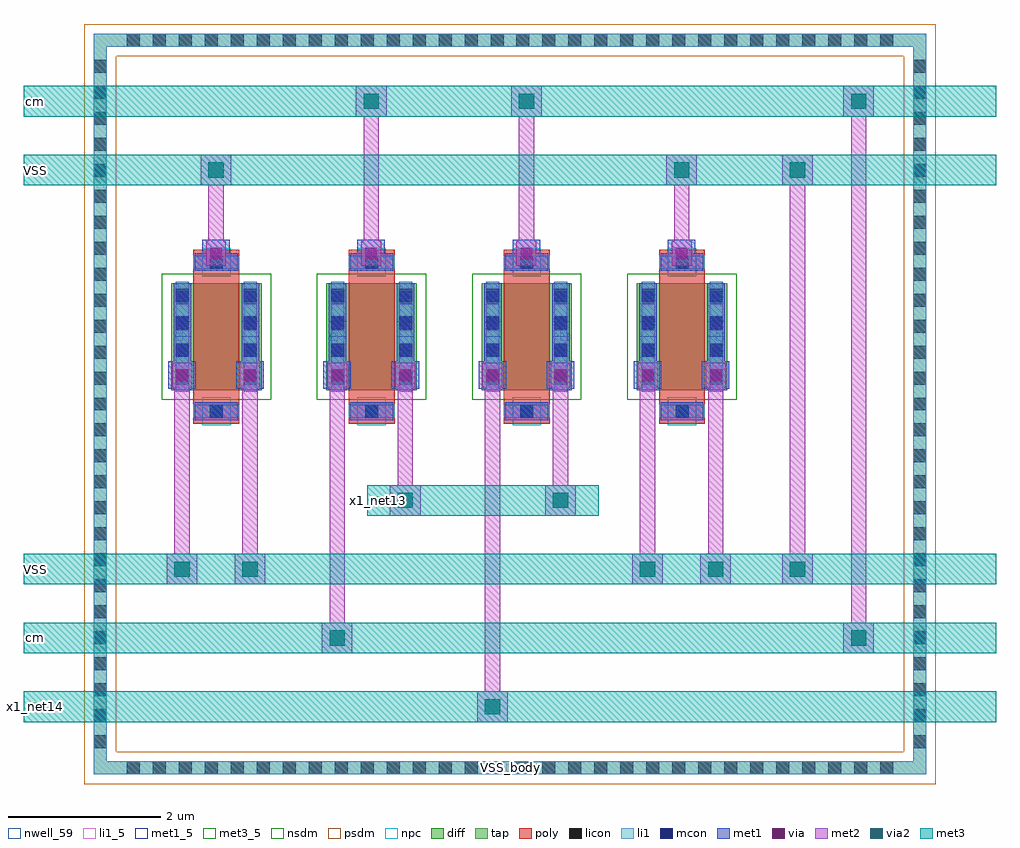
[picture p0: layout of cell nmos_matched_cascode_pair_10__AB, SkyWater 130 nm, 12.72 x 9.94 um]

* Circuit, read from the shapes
.subckt nmos_matched_cascode_pair_10__AB VSS VSS_body cm x1_net13 x1_net14
XM1 VSS VSS VSS VSS_body sky130_fd_pr__nfet_01v8 w=1.4 l=0.6 m=2
XM2 x1_net13 cm cm VSS_body sky130_fd_pr__nfet_01v8 w=1.4 l=0.6
XM3 x1_net13 cm x1_net14 VSS_body sky130_fd_pr__nfet_01v8 w=1.4 l=0.6
.ends

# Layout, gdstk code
from math import pi, radians
import gdstk
lib = gdstk.Library(unit=1e-6, precision=1e-09)
def R(c, l, rs):  # rectangles x0, y0, x1, y1
    for r in rs: c.add(gdstk.rectangle(r[:2], r[2:], *l))
def A(c, l, x, y, w, h, nx, ny, dx, dy):  # array of equal rectangles
    R(c, l, [(x+i*dx, y+j*dy, x+i*dx+w, y+j*dy+h) for i in range(nx) for j in range(ny)])
nwell_59 = (64, 59)
diff = (65, 20)
tap = (65, 44)
poly = (66, 20)
licon = (66, 44)
li1_5 = (67, 5)
li1 = (67, 20)
mcon = (67, 44)
met1_5 = (68, 5)
met1 = (68, 20)
via = (68, 44)
met2 = (69, 20)
via2 = (69, 44)
met3_5 = (70, 5)
met3 = (70, 20)
nsdm = (93, 44)
psdm = (94, 20)
npc = (95, 20)

sky130_fd_pr__nfet_01v8_ = lib.new_cell('sky130_fd_pr__nfet_01v8_KCM6UP')
R(sky130_fd_pr__nfet_01v8_, diff, [(-0.59,-0.7,0.59,0.7)])
R(sky130_fd_pr__nfet_01v8_, poly, [(-0.3,-1.14,0.3,1.14)])
A(sky130_fd_pr__nfet_01v8_, licon, -0.53, -0.595, 0.17, 0.17, 1, 4, 0, 0.34)
A(sky130_fd_pr__nfet_01v8_, licon, 0.36, -0.595, 0.17, 0.17, 1, 4, 0, 0.34)
R(sky130_fd_pr__nfet_01v8_, licon, [(-0.085,-1.06,0.085,-0.89), (-0.085,0.89,0.085,1.06)])
R(sky130_fd_pr__nfet_01v8_, li1, [(-0.3,-1.06,0.3,-0.89), (-0.53,-0.72,-0.36,0.72), (0.36,-0.72,0.53,0.72), (-0.3,0.89,0.3,1.06)])
A(sky130_fd_pr__nfet_01v8_, mcon, -0.53, -0.625, 0.17, 0.17, 1, 4, 0, 0.36)
A(sky130_fd_pr__nfet_01v8_, mcon, 0.36, -0.625, 0.17, 0.17, 1, 4, 0, 0.36)
R(sky130_fd_pr__nfet_01v8_, mcon, [(-0.085,-1.06,0.085,-0.89), (-0.085,0.89,0.085,1.06)])
R(sky130_fd_pr__nfet_01v8_, met1, [(-0.28,-1.09,0.28,-0.86), (-0.56,-0.7,-0.33,0.7), (0.33,-0.7,0.56,0.7), (-0.28,0.86,0.28,1.09)])
R(sky130_fd_pr__nfet_01v8_, nsdm, [(-0.715,-0.825,0.715,0.825)])
R(sky130_fd_pr__nfet_01v8_, npc, [(-0.185,-1.16,0.185,-0.79), (-0.185,0.79,0.185,1.16)])
sky130_fd_pr__nfet_01v8_.add(gdstk.Label('D', (-0.445,0), layer=67, texttype=5))
sky130_fd_pr__nfet_01v8_.add(gdstk.Label('S', (0.445,0), layer=67, texttype=5))
sky130_fd_pr__nfet_01v8_.add(gdstk.Label('G', (0,0.975), layer=67, texttype=5))

nfet_01v8_w1p4_l0p6_m1__ = lib.new_cell('nfet_01v8_W1p4_L0p6_m1__nf1_gboth_sdfull_ng')
R(nfet_01v8_w1p4_l0p6_m1__, nwell_59, [(0.05,1.09,0.15,1.19)])
R(nfet_01v8_w1p4_l0p6_m1__, met1_5, [(0.03,1.14,0.26,1.34), (0.92,1.14,1.15,1.34), (0.31,2,0.87,2.23)])
R(nfet_01v8_w1p4_l0p6_m1__, met1, [(0.03,1.14,0.26,1.34), (0.92,1.14,1.15,1.34), (0.31,2,0.87,2.23)])
nfet_01v8_w1p4_l0p6_m1__.add(gdstk.Reference(sky130_fd_pr__nfet_01v8_, (0.59,1.14)))
nfet_01v8_w1p4_l0p6_m1__.add(gdstk.Label('D', (0.145,1.24), layer=68, texttype=5))
nfet_01v8_w1p4_l0p6_m1__.add(gdstk.Label('S', (1.035,1.24), layer=68, texttype=5))
nfet_01v8_w1p4_l0p6_m1__.add(gdstk.Label('G', (0.59,2.115), layer=68, texttype=5))
nfet_01v8_w1p4_l0p6_m1__.add(gdstk.Label('B', (0.1,1.14), layer=64, texttype=59))

nmos_matched_cascode_pai = lib.new_cell('nmos_matched_cascode_pair_10__AB')
R(nmos_matched_cascode_pai, tap, [(-0.885,-4.585,10.005,-4.415), (-0.885,-4.415,-0.715,4.935), (9.835,-4.415,10.005,4.935), (-0.885,4.935,10.005,5.105)])
A(nmos_matched_cascode_pai, licon, -0.455, -4.585, 0.17, 0.17, 30, 2, 0.34, 9.52)
A(nmos_matched_cascode_pai, licon, -0.885, -4.245, 0.17, 0.17, 1, 27, 0, 0.34)
A(nmos_matched_cascode_pai, licon, 9.835, -4.245, 0.17, 0.17, 1, 27, 0, 0.34)
R(nmos_matched_cascode_pai, li1_5, [(4.51,-4.55,4.61,-4.45)])
R(nmos_matched_cascode_pai, li1, [(-0.885,-4.585,10.005,-4.415), (-0.885,-4.415,-0.715,4.935), (9.835,-4.415,10.005,4.935), (-0.885,4.935,10.005,5.105)])
A(nmos_matched_cascode_pai, met1, 0.535, 2.05, 0.36, 0.36, 4, 1, 2.03, 0)
R(nmos_matched_cascode_pai, met1, [(0.09,0.46,0.45,0.82), (0.98,0.46,1.34,0.82), (2.12,0.46,2.48,0.82), (3.01,0.46,3.37,0.82), (4.15,0.46,4.51,0.82), (5.04,0.46,5.4,0.82), (6.18,0.46,6.54,0.82), (7.07,0.46,7.43,0.82)])
A(nmos_matched_cascode_pai, via, 0.64, 2.155, 0.15, 0.15, 4, 1, 2.03, 0)
R(nmos_matched_cascode_pai, via, [(0.195,0.565,0.345,0.715), (1.085,0.565,1.235,0.715), (2.225,0.565,2.375,0.715), (3.115,0.565,3.265,0.715), (4.255,0.565,4.405,0.715), (5.145,0.565,5.295,0.715), (6.285,0.565,6.435,0.715), (7.175,0.565,7.325,0.715)])
A(nmos_matched_cascode_pai, met2, 0.585, 2.07, 0.26, 0.32, 4, 1, 2.03, 0)
R(nmos_matched_cascode_pai, met2, [(4.13,-3.9,4.53,-3.5), (4.23,-3.5,4.43,0.48), (2.1,-3,2.5,-2.6), (8.92,-3,9.32,-2.6), (2.2,-2.6,2.4,0.48), (9.02,-2.6,9.22,4.02), (0.07,-2.1,0.47,-1.7), (0.96,-2.1,1.36,-1.7), (6.16,-2.1,6.56,-1.7), (7.05,-2.1,7.45,-1.7), (8.12,-2.1,8.52,-1.7), (0.17,-1.7,0.37,0.48), (1.06,-1.7,1.26,0.48), (6.26,-1.7,6.46,0.48), (7.15,-1.7,7.35,0.48), (8.22,-1.7,8.42,3.12), (2.99,-1.2,3.39,-0.8), (5.02,-1.2,5.42,-0.8), (3.09,-0.8,3.29,0.48), (5.12,-0.8,5.32,0.48), (0.14,0.48,0.4,0.8), (1.03,0.48,1.29,0.8), (2.17,0.48,2.43,0.8), (3.06,0.48,3.32,0.8), (4.2,0.48,4.46,0.8), (5.09,0.48,5.35,0.8), (6.23,0.48,6.49,0.8), (7.12,0.48,7.38,0.8), (0.615,2.39,0.815,3.12), (2.645,2.39,2.845,4.02), (4.675,2.39,4.875,4.02), (6.705,2.39,6.905,3.12), (0.515,3.12,0.915,3.52), (6.605,3.12,7.005,3.52), (8.12,3.12,8.52,3.52), (2.545,4.02,2.945,4.42), (4.575,4.02,4.975,4.42), (8.92,4.02,9.32,4.42)])
R(nmos_matched_cascode_pai, via2, [(4.23,-3.8,4.43,-3.6), (2.2,-2.9,2.4,-2.7), (9.02,-2.9,9.22,-2.7), (0.17,-2,0.37,-1.8), (1.06,-2,1.26,-1.8), (6.26,-2,6.46,-1.8), (7.15,-2,7.35,-1.8), (8.22,-2,8.42,-1.8), (3.09,-1.1,3.29,-0.9), (5.12,-1.1,5.32,-0.9), (0.615,3.22,0.815,3.42), (6.705,3.22,6.905,3.42), (8.22,3.22,8.42,3.42), (2.645,4.12,2.845,4.32), (4.675,4.12,4.875,4.32), (9.02,4.12,9.22,4.32)])
A(nmos_matched_cascode_pai, met3_5, -1.7, -3.75, 0.1, 0.1, 1, 3, 0, 0.9)
R(nmos_matched_cascode_pai, met3_5, [(2.79,-1.05,2.89,-0.95), (-1.7,3.27,-1.6,3.37), (-1.7,4.17,-1.6,4.27)])
A(nmos_matched_cascode_pai, met3, -1.8, -3.9, 12.72, 0.4, 1, 3, 0, 0.9)
R(nmos_matched_cascode_pai, met3, [(2.69,-1.2,5.72,-0.8), (-1.8,3.12,10.92,3.52), (-1.8,4.02,10.92,4.42)])
R(nmos_matched_cascode_pai, psdm, [(-1.01,-4.71,10.13,-4.29), (-1.01,-4.29,-0.59,4.81), (9.71,-4.29,10.13,4.81), (-1.01,4.81,10.13,5.23)])
nmos_matched_cascode_pai.add(gdstk.Reference(nfet_01v8_w1p4_l0p6_m1__, (7.4,0), rotation=pi, x_reflection=True))
nmos_matched_cascode_pai.add(gdstk.Reference(nfet_01v8_w1p4_l0p6_m1__, (5.37,0), rotation=pi, x_reflection=True))
nmos_matched_cascode_pai.add(gdstk.Reference(nfet_01v8_w1p4_l0p6_m1__, (2.16,0)))
nmos_matched_cascode_pai.add(gdstk.Reference(nfet_01v8_w1p4_l0p6_m1__, (0.13,0)))
nmos_matched_cascode_pai.add(gdstk.Label('VSS', (-1.65,3.32), layer=70, texttype=5))
nmos_matched_cascode_pai.add(gdstk.Label('cm', (-1.65,4.22), layer=70, texttype=5))
nmos_matched_cascode_pai.add(gdstk.Label('VSS', (-1.65,-1.9), layer=70, texttype=5))
nmos_matched_cascode_pai.add(gdstk.Label('cm', (-1.65,-2.8), layer=70, texttype=5))
nmos_matched_cascode_pai.add(gdstk.Label('x1_net13', (2.84,-1), layer=70, texttype=5))
nmos_matched_cascode_pai.add(gdstk.Label('x1_net14', (-1.65,-3.7), layer=70, texttype=5))
nmos_matched_cascode_pai.add(gdstk.Label('VSS_body', (4.56,-4.5), layer=67, texttype=5))

lib.write_gds('nmos_matched_cascode_pair_10__AB.gds')
